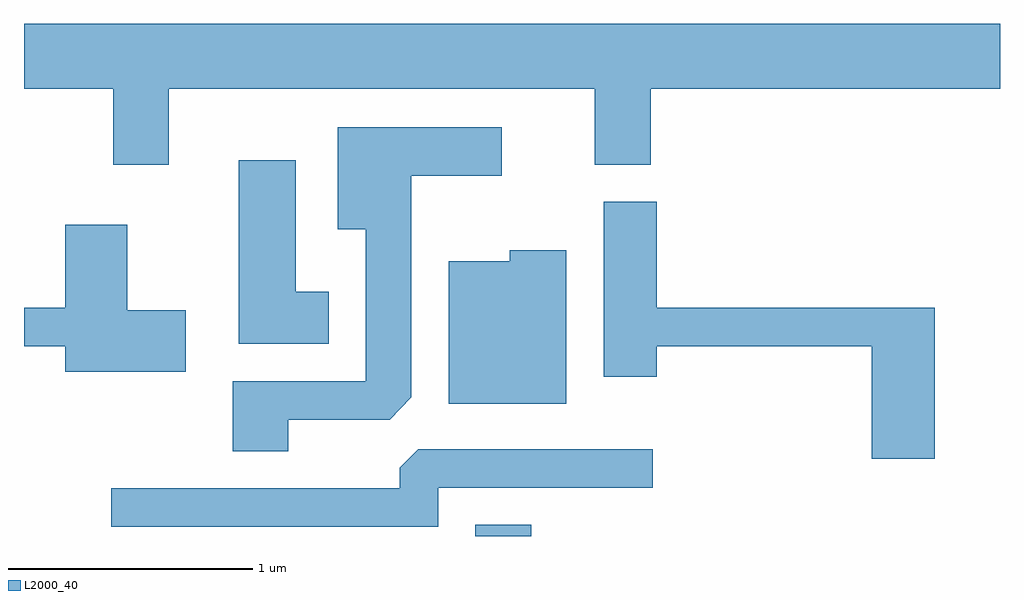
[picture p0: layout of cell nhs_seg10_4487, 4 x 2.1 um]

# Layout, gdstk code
import gdstk
lib = gdstk.Library(unit=1e-6, precision=1e-09)
def R(c, l, rs):  # rectangles x0, y0, x1, y1
    for r in rs: c.add(gdstk.rectangle(r[:2], r[2:], *l))
def P(c, l, *ps):  # polygons
    for p in ps: c.add(gdstk.Polygon(p, *l))
L2000_40 = (2000, 40)

nhs_seg10_4487 = lib.new_cell('nhs_seg10_4487')
R(nhs_seg10_4487, L2000_40, [(319.461,2116.522,319.689,2116.569)])
P(nhs_seg10_4487, L2000_40, [(318.204,2118.356),(319.951,2118.356),(319.951,2118.046),(320.179,2118.046),(320.179,2118.356),(321.611,2118.356),(321.611,2118.624),(317.611,2118.624),(317.611,2118.356),(317.976,2118.356),(317.976,2118.046),(318.204,2118.046)],
  [(318.694,2117.001),(319.109,2117.001),(319.199,2117.092),(319.199,2118.001),(319.569,2118.001),(319.569,2118.199),(318.896,2118.199),(318.896,2117.781),(319.011,2117.781),(319.011,2117.159),(318.466,2117.159),(318.466,2116.871),(318.694,2116.871)],
  [(318.859,2117.524),(318.724,2117.524),(318.724,2118.064),(318.491,2118.064),(318.491,2117.311),(318.859,2117.311)],
  [(321.344,2117.459),(320.204,2117.459),(320.204,2117.894),(319.986,2117.894),(319.986,2117.176),(320.204,2117.176),(320.204,2117.301),(321.086,2117.301),(321.086,2116.841),(321.344,2116.841)],
  [(318.274,2117.449),(318.034,2117.449),(318.034,2117.799),(317.781,2117.799),(317.781,2117.459),(317.611,2117.459),(317.611,2117.301),(317.781,2117.301),(317.781,2117.196),(318.274,2117.196)],
  [(319.834,2117.694),(319.601,2117.694),(319.601,2117.649),(319.351,2117.649),(319.351,2117.066),(319.834,2117.066)],
  [(319.309,2116.721),(320.188,2116.721),(320.188,2116.879),(319.227,2116.879),(319.151,2116.804),(319.151,2116.719),(317.968,2116.719),(317.968,2116.561),(319.309,2116.561)])

lib.write_gds('nhs_seg10_4487.gds')
